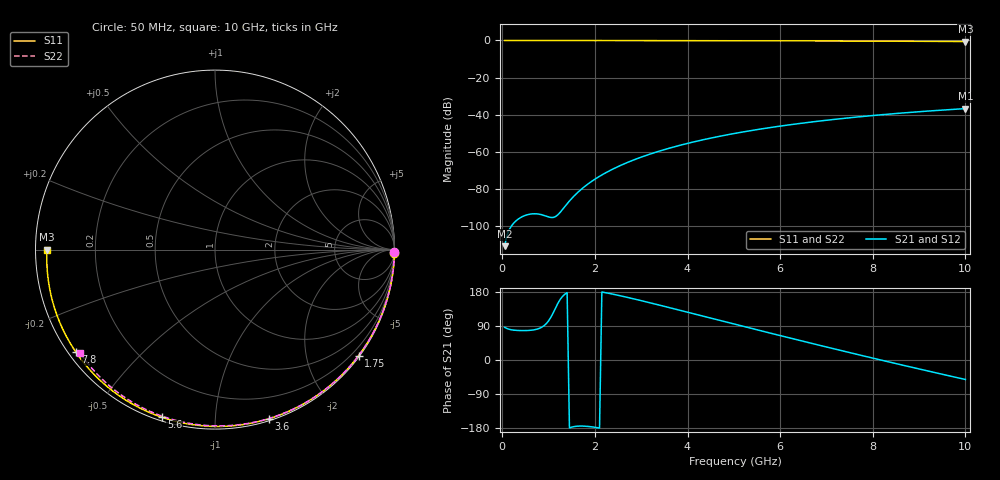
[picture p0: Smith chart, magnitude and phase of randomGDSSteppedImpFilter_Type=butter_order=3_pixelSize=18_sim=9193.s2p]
! freq	dB(S11)	phase(S11)	dB(S12)	phase(S12)
!  dB(S21)	phase(S21)	dB(S22)	phase(S22)
!S-par simulation data
#  GHz  S  DB  R 50
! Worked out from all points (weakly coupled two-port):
!   200 points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, 50 MHz to 10 GHz, reference 50 ohm
!   highest |S21| = -36.76 dB at 10 GHz (marker M1); lowest = -110.9 dB at 50 MHz (marker M2)
!   lowest |S11| = -0.6 dB at 10 GHz (marker M3), VSWR 30.25, Z = 1.65 - j0.00747 ohm
!   |S11| at or under -10 dB: nowhere
!   |S22| runs from -0.5 to 0.0 dB; largest |S21 - S12| = 0
!   S11 on the Smith chart (normalised r, x): 50 MHz: open; 1.75 GHz: 0.03, -3.04; 3.6 GHz: 0.02, -1.37; 5.6 GHz: 0.02, -0.73; 7.8 GHz: 0.02, -0.33; 10 GHz: 0.03, -0.00
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0.05  -0.00 -1.1  -110.93 86.2  -110.93 86.2  -0.00 -0.8
0.45  -0.01 -9.5  -94.80 77.6  -94.80 77.6  -0.01 -7.3
0.85  -0.02 -17.9  -93.97 86.4  -93.97 86.4  -0.02 -13.8
1.25  -0.03 -26.2  -92.67 159.8  -92.67 159.8  -0.03 -20.2
1.7  -0.04 -35.4  -80.37 -174.3  -80.37 -174.3  -0.03 -27.3
1.75  -0.05 -36.4  -79.33 -174.5  -79.33 -174.5  -0.04 -28.1
2.05  -0.05 -42.4  -74.02 -178.5  -74.02 -178.5  -0.04 -32.8
2.25  -0.06 -46.4  -71.12 177.1  -71.12 177.1  -0.05 -35.9
2.45  -0.06 -50.4  -68.59 172.1  -68.59 172.1  -0.05 -39.0
2.9  -0.08 -59.1  -63.83 159.6  -63.83 159.6  -0.06 -45.9
3.4  -0.09 -68.6  -59.60 144.6  -59.60 144.6  -0.07 -53.5
3.6  -0.10 -72.4  -58.14 138.5  -58.14 138.5  -0.08 -56.5
4.3  -0.12 -85.1  -53.74 116.8  -53.74 116.8  -0.09 -66.7
5.05  -0.15 -98.3  -49.98 93.6  -49.98 93.6  -0.12 -77.3
5.6  -0.18 -107.7  -47.68 76.6  -47.68 76.6  -0.14 -84.9
6.15  -0.21 -116.9  -45.67 59.9  -45.67 59.9  -0.16 -92.4
6.7  -0.24 -125.9  -43.90 43.3  -43.90 43.3  -0.19 -99.7
7.25  -0.28 -134.8  -42.34 26.9  -42.34 26.9  -0.23 -106.8
7.8  -0.33 -143.7  -40.95 10.8  -40.95 10.8  -0.26 -113.9
8.35  -0.38 -152.6  -39.71 -5.2  -39.71 -5.2  -0.31 -121.0
9.2  -0.47 -166.5  -38.06 -29.3  -38.06 -29.3  -0.39 -131.8
10  -0.57 -180.0  -36.76 -51.4  -36.76 -51.4  -0.48 -142.4
